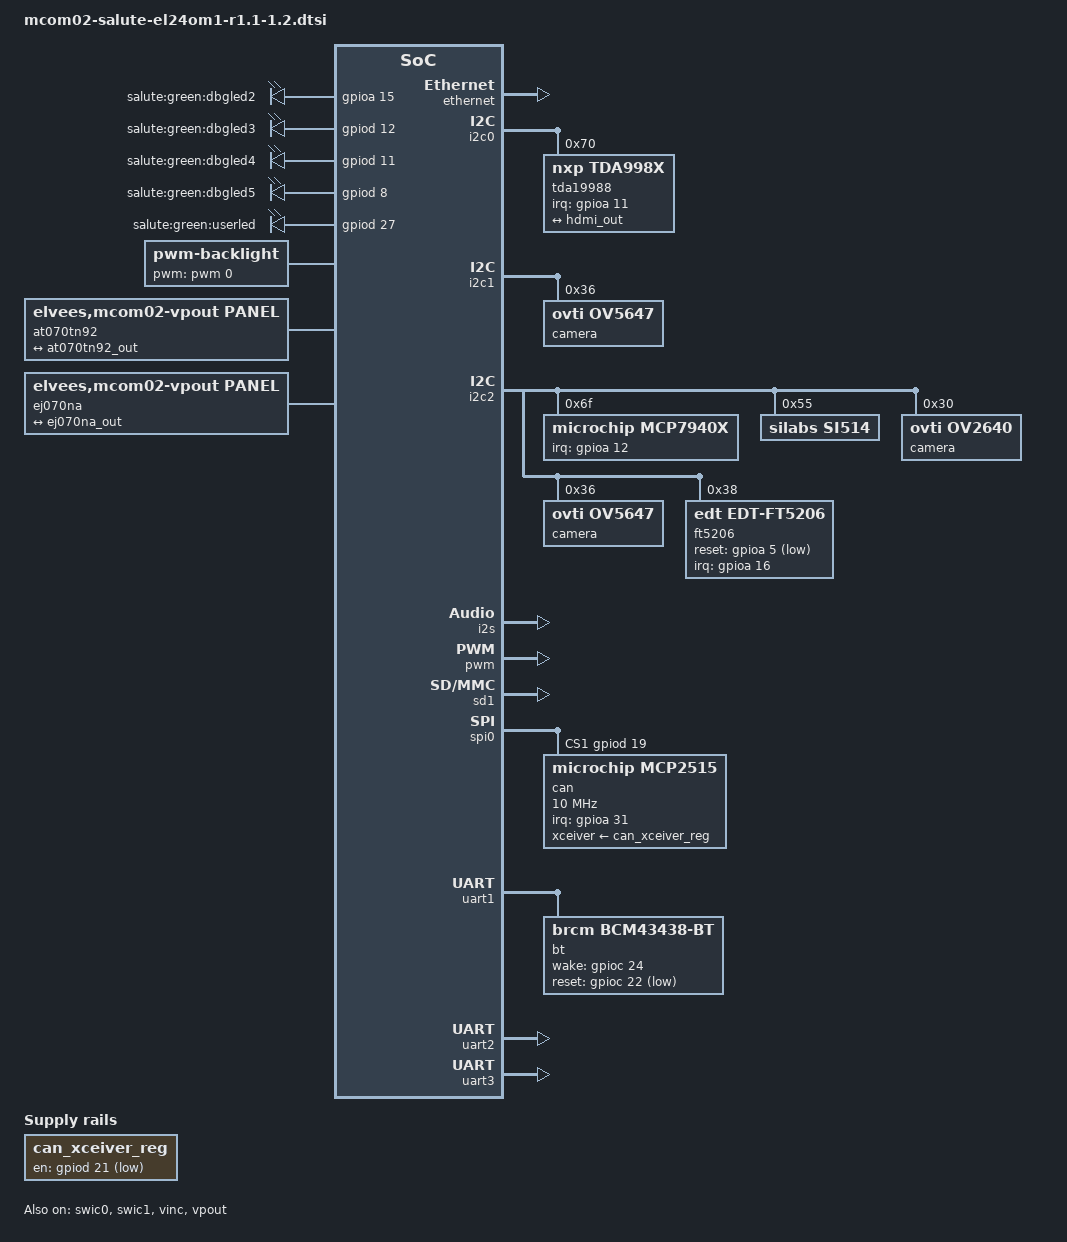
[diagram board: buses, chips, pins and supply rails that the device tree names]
/*
 * Copyright 2017 RnD Center "ELVEES", JSC
 *
 * This program is free software; you can redistribute it and/or modify
 * it under the terms of the GNU General Public License version 2 as
 * published by the Free Software Foundation.
 */

#include <dt-bindings/interrupt-controller/irq.h>

#define TDA998x_SPDIF	1
#define TDA998x_I2S	2

/ {
	chosen {
		bootargs = "console=ttyS0,115200";
	};

	aliases {
		spi0 = &spi0;
	};

	clocks {
		can_clk: can_clk {
			#clock-cells = <0>;
			compatible = "fixed-clock";
			clock-frequency = <16000000>;
		};
	};

	leds {
		dbgled2 {
			label = "salute:green:dbgled2";
			gpios = <&gpioa 15 GPIO_ACTIVE_HIGH>;
			linux,default-trigger = "mmc1";
		};

		dbgled3 {
			label = "salute:green:dbgled3";
			gpios = <&gpiod 12 GPIO_ACTIVE_HIGH>;
			default-state = "off";
		};

		dbgled4 {
			label = "salute:green:dbgled4";
			gpios = <&gpiod 11 GPIO_ACTIVE_HIGH>;
			default-state = "off";
		};

		dbgled5 {
			label = "salute:green:dbgled5";
			gpios = <&gpiod 8 GPIO_ACTIVE_HIGH>;
			default-state = "off";
		};

		userled {
			label = "salute:green:userled";
			gpios = <&gpiod 27 GPIO_ACTIVE_HIGH>;
			linux,default-trigger = "heartbeat";
		};
	};

	regulators {
		can_xceiver_reg: regulator@1 {
			compatible = "regulator-fixed";
			reg = <0x1>;
			regulator-name = "can-xceiver";
			gpio = <&gpiod 21 0>;
		};
	};

	sound_hdmi: sound-hdmi {
		compatible = "simple-audio-card";
		simple-audio-card,name = "Salute-EL24OM1-HDMI";
		simple-audio-card,format = "i2s";
		simple-audio-card,bitclock-master = <&dailink1_master>;
		simple-audio-card,frame-master = <&dailink1_master>;

		dailink1_master: simple-audio-card,cpu {
			sound-dai = <&i2s>;
		};

		simple-audio-card,codec {
			sound-dai = <&tda19988>;
		};
	};

	backlight: backlight {
		compatible = "pwm-backlight";
		pwms = <&pwm 0 500000>;
		brightness-levels = <
			 0  1  2  3  4  5  6  7  8  9
			10 11 12 13 14 15 16 17 18 19
			20 21 22 23 24 25 26 27 28 29
			30 31 32 33 34 35 36 37 38 39
			40 41 42 43 44 45 46 47 48 49
			50 51 52 53 54 55 56 57 58 59
			60 61 62 63 64 65 66 67 68 69
			70 71 72 73 74 75 76 77 78 79
			80 81 82 83 84 85 86 87 88 89
			90 91 92 93 94 95 96 97 98 99
			100>;
		default-brightness-level = <50>;
	};

	/*
	 * Backlight will work regardless of panel DPMS, if `backlight` property
	 * in both panels are commented. To enable backlight working with panel
	 * DPMS you have to uncomment `backlight` property in panel node.
	 *
	 * NOTICE: Use of the same backlight in both panels is mutually
	 * exclusive.
	 */
	at070tn92: panel0 {
		compatible = "elvees,mcom02-vpout,panel";
		/* backlight =<&backlight>; */

		display-timings {
			800x480p60 {
				clock-frequency = <33300000>;
				hactive = <800>;
				vactive = <480>;
				hfront-porch = <85>;
				hback-porch = <85>;
				hsync-len = <86>;
				vfront-porch = <15>;
				vback-porch = <15>;
				vsync-len = <15>;
			};
		};

		port {
			at070tn92_in: endpoint {
				remote-endpoint = <&at070tn92_out>;
			};
		};
	};

	ej070na: panel1 {
		compatible = "elvees,mcom02-vpout,panel";
		/* backlight =<&backlight>; */

		display-timings {
			1024x600p60 {
				clock-frequency = <51206400>;
				hactive = <1024>;
				vactive = <600>;
				hfront-porch = <100>;
				hback-porch = <100>;
				hsync-len = <120>;
				vfront-porch = <10>;
				vback-porch = <10>;
				vsync-len = <15>;
			};
		};

		port {
			ej070na_in: endpoint {
				remote-endpoint = <&ej070na_out>;
			};
		};
	};

};

&ethernet {
	status = "okay";
};

&i2c0 {
	tda19988: hdmi-encoder@70 {
		compatible = "nxp,tda998x";
		reg = <0x70>;
		interrupt-parent = <&gpioa>;
		interrupts = <11 IRQ_TYPE_LEVEL_LOW>;
		video-ports = <0x234501>;
		#sound-dai-cells = <0>;
		audio-ports = <TDA998x_I2S 0x3>;

		port {
			hdmi_in: endpoint {
				remote-endpoint = <&hdmi_out>;
			};
		};
	};
};

&i2c1 {
	camera@36 {
		compatible = "ovti,ov5647";
		reg = <0x36>;
		port {
			ov5647_0_endpoint: endpoint {
				remote = <&vinc_endpoint0>;
			};
		};
	};
};

&i2c2 {
	mcp7940x: rtc@6f {
		compatible = "microchip,mcp7940x";
		reg = <0x6f>;
		interrupt-parent = <&gpioa>;
		interrupts = <12 IRQ_TYPE_LEVEL_LOW>;
		wakeup-source;
	};

	si514: clock-generator@55 {
		reg = <0x55>;
		#clock-cells = <0>;
		compatible = "silabs,si514";
	};

	camera@30 {
		compatible = "ovti,ov2640";
		reg = <0x30>;
		port {
			ov2640_endpoint: endpoint {
				remote = <&vinc_endpoint2>;
			};
		};
	};

	camera@36 {
		compatible = "ovti,ov5647";
		reg = <0x36>;
		port {
			ov5647_1_endpoint: endpoint {
				remote = <&vinc_endpoint1>;
			};
		};
	};

	ft5206: touchscreen@38 {
		compatible = "edt,edt-ft5206";
		reg = <0x38>;
		interrupt-parent = <&gpioa>;
		interrupts = <16 IRQ_TYPE_LEVEL_LOW>;
		reset-gpios = <&gpioa 5 GPIO_ACTIVE_LOW>;
		touchscreen-size-x = <600>;
		touchscreen-size-y = <1024>;
	};
};

&i2s {
	clocks = <&i2s_pclk>, <&si514 0>;
	clock-names = "pclk", "i2sclk";
	status = "okay";
};

&pwm {
	status = "okay";
};

&sd1 {
	#address-cells = <1>;
	#size-cells = <0>;
	keep-power-in-suspend;
	status = "okay";

	ap6212: wifi@1 {
		compatible = "brcm,bcm4329-fmac";
		reg = <1>;
		reg-on-gpio = <&gpioc 23 GPIO_ACTIVE_HIGH>;
		status = "disabled";
	};
};

&sound {
	status = "okay";
};

&spi0 {
	num-cs = <2>;
	/* Third argument of "cs-gpios" property is set to 0,
	 * because it is ignored by the SPI driver. */
	cs-gpios = <&gpiod 18 0>, <&gpiod 19 0>;

	can: can@1 {
		compatible = "microchip,mcp2515";
		reg = <0x1>;
		spi-max-frequency = <10000000>;
		clocks = <&can_clk>;
		interrupt-parent = <&gpioa>;
		interrupts = <31 IRQ_TYPE_LEVEL_LOW>;
		xceiver-supply = <&can_xceiver_reg>;
	};
};

&swic0 {
	status = "okay";
};

&swic1 {
	status = "okay";
};

/* Bluetooth is connected to UART1 */
&uart1 {
	status = "okay";

	bt {
		compatible = "brcm,bcm43438-bt";
		wake-gpio = <&gpioc 24 GPIO_ACTIVE_HIGH>;
		reset-gpio = <&gpioc 22 GPIO_ACTIVE_LOW>;
	};
};

&uart2 {
	status = "okay";
};

/* RS-485 is used as physical layer for UART3 */
&uart3 {
	rts-gpio = <&gpiod 20 GPIO_ACTIVE_HIGH>;
	status = "okay";
};

&vinc {
	status = "okay";
	ports {
		#address-cells = <1>;
		#size-cells = <0>;

		port@0 {
			#address-cells = <1>;
			#size-cells = <0>;
			reg = <0x0>;

			vinc_endpoint0: endpoint@0 {
				reg = <0x0>;
				remote-endpoint = <&ov5647_0_endpoint>;
				elvees,ifacenum = /bits/ 8 <2>;
			};
		};

		port@1 {
			#address-cells = <1>;
			#size-cells = <0>;
			reg = <0x1>;

			vinc_endpoint1: endpoint@0 {
				reg = <0x0>;
				remote-endpoint = <&ov5647_1_endpoint>;
				elvees,ifacenum = /bits/ 8 <3>;
			};
		};

		port@2 {
			#address-cells = <1>;
			#size-cells = <0>;
			reg = <0x2>;

			vinc_endpoint2: endpoint@0 {
				reg = <0x0>;
				remote-endpoint = <&ov2640_endpoint>;
				elvees,pport-low-bits;
				elvees,ifacenum = /bits/ 8 <0>;
			};
		};
	};
};

&vpout {
	status = "okay";

	port {
		#address-cells = <1>;
		#size-cells = <0>;

		hdmi_out: endpoint@0 {
			reg = <0>;
			remote-endpoint = <&hdmi_in>;
			info {
				label = "HDMI";
				bpp = <32>;
			};
		};

		ej070na_out: endpoint@1 {
			reg = <1>;
			remote-endpoint = <&ej070na_in>;
			info {
				label = "EJ070NA";
				bpp = <32>;
			};
		};

		at070tn92_out: endpoint@2 {
			reg = <2>;
			remote-endpoint = <&at070tn92_in>;
			info {
				label = "AT070TN92";
				bpp = <32>;
			};
		};
	};
};
